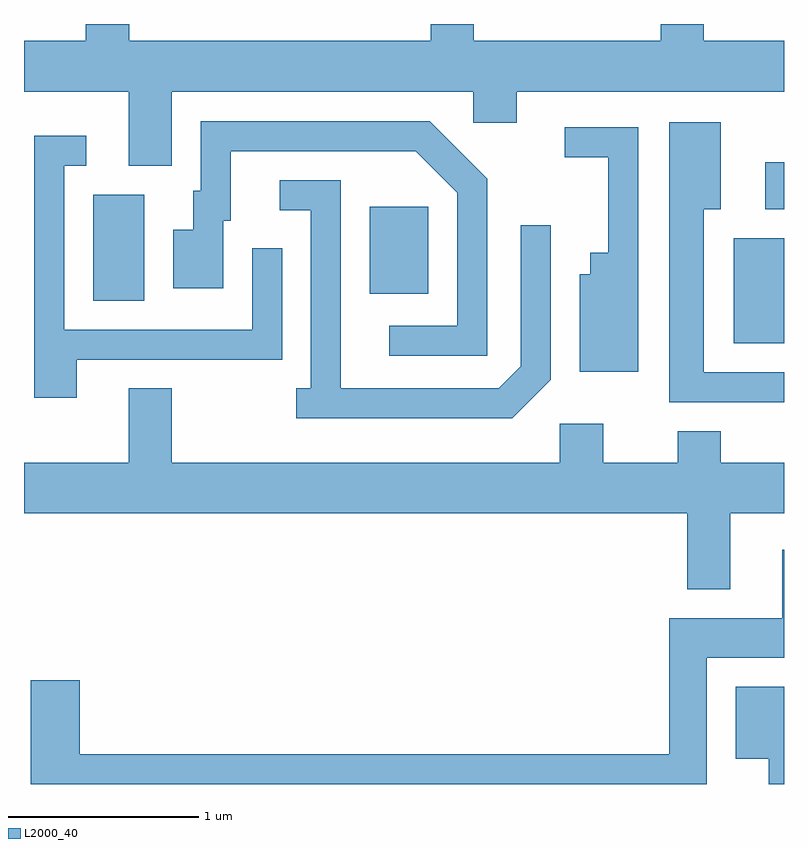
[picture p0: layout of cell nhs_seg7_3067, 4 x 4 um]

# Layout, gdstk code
import gdstk
lib = gdstk.Library(unit=1e-6, precision=1e-09)
def R(c, l, rs):  # rectangles x0, y0, x1, y1
    for r in rs: c.add(gdstk.rectangle(r[:2], r[2:], *l))
def P(c, l, *ps):  # polygons
    for p in ps: c.add(gdstk.Polygon(p, *l))
L2000_40 = (2000, 40)

nhs_seg7_3067 = lib.new_cell('nhs_seg7_3067')
R(nhs_seg7_3067, L2000_40, [(283.346,1688.571,283.611,1689.124), (279.976,1688.796,280.244,1689.354), (281.431,1688.831,281.739,1689.289), (283.511,1689.276,283.611,1689.524)])
P(nhs_seg7_3067, L2000_40, [(280.389,1689.896),(281.976,1689.896),(281.976,1689.731),(282.204,1689.731),(282.204,1689.896),(283.611,1689.896),(283.611,1690.164),(283.189,1690.164),(283.189,1690.252),(282.961,1690.252),(282.961,1690.164),(281.979,1690.164),(281.979,1690.252),(281.751,1690.252),(281.751,1690.164),(280.164,1690.164),(280.164,1690.252),(279.936,1690.252),(279.936,1690.164),(279.611,1690.164),(279.611,1689.896),(280.161,1689.896),(280.161,1689.506),(280.389,1689.506)],
  [(282.049,1689.437),(281.747,1689.739),(280.541,1689.739),(280.541,1689.374),(280.501,1689.374),(280.501,1689.169),(280.396,1689.169),(280.396,1688.861),(280.659,1688.861),(280.659,1689.216),(280.699,1689.216),(280.699,1689.581),(281.674,1689.581),(281.891,1689.364),(281.891,1688.664),(281.533,1688.664),(281.533,1688.506),(282.049,1688.506)],
  [(283.611,1688.419),(283.189,1688.419),(283.189,1689.276),(283.279,1689.276),(283.279,1689.734),(283.006,1689.734),(283.006,1688.261),(283.611,1688.261)],
  [(282.844,1689.709),(282.458,1689.709),(282.458,1689.551),(282.686,1689.551),(282.686,1689.049),(282.591,1689.049),(282.591,1688.934),(282.536,1688.934),(282.536,1688.421),(282.844,1688.421)],
  [(279.889,1688.486),(280.969,1688.486),(280.969,1689.073),(280.811,1689.073),(280.811,1688.644),(279.824,1688.644),(279.824,1689.506),(279.938,1689.506),(279.938,1689.664),(279.666,1689.664),(279.666,1688.286),(279.889,1688.286)],
  [(282.384,1688.379),(282.384,1689.193),(282.226,1689.193),(282.226,1688.452),(282.109,1688.334),(281.279,1688.334),(281.279,1689.429),(280.958,1689.429),(280.958,1689.271),(281.121,1689.271),(281.121,1688.334),(281.043,1688.334),(281.043,1688.176),(282.182,1688.176)],
  [(283.329,1687.676),(283.611,1687.676),(283.611,1687.944),(283.279,1687.944),(283.279,1688.109),(283.051,1688.109),(283.051,1687.944),(282.659,1687.944),(282.659,1688.149),(282.431,1688.149),(282.431,1687.944),(280.389,1687.944),(280.389,1688.334),(280.161,1688.334),(280.161,1687.944),(279.611,1687.944),(279.611,1687.676),(283.101,1687.676),(283.101,1687.276),(283.329,1687.276)],
  [(283.204,1686.916),(283.611,1686.916),(283.611,1687.484),(283.601,1687.484),(283.601,1687.124),(283.006,1687.124),(283.006,1686.409),(279.904,1686.409),(279.904,1686.799),(279.646,1686.799),(279.646,1686.252),(283.204,1686.252)],
  [(283.611,1686.764),(283.356,1686.764),(283.356,1686.386),(283.531,1686.386),(283.531,1686.252),(283.611,1686.252)])

lib.write_gds('nhs_seg7_3067.gds')
